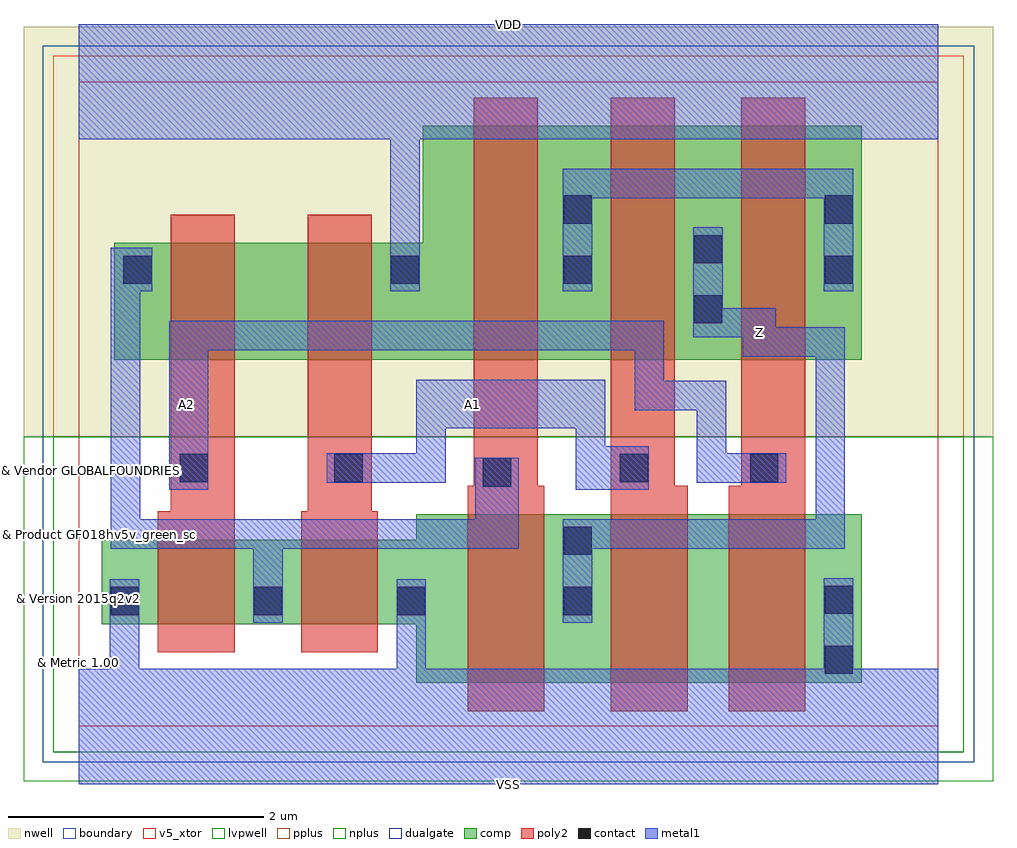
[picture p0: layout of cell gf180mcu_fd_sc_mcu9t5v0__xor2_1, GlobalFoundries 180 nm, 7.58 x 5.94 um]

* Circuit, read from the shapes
.subckt gf180mcu_fd_sc_mcu9t5v0__xor2_1 A1 A2 VDD VSS Z
XM1 n1 A2 VSS VSUBS nfet_05v0 w=0.66u l=0.6u
XM2 VSS A1 n1 VSUBS nfet_05v0 w=0.66u l=0.6u
XM3 Z n1 VSS VSUBS nfet_05v0 w=1.32u l=0.6u
XM4 n2 A1 Z VSUBS nfet_05v0 w=1.32u l=0.6u
XM5 VSS A2 n2 VSUBS nfet_05v0 w=1.32u l=0.6u
XM6 n3 A2 n1 n4 pfet_05v0 w=0.915u l=0.5u
XM7 VDD A1 n3 n4 pfet_05v0 w=0.915u l=0.5u
XM8 n5 n1 VDD n4 pfet_05v0 w=1.83u l=0.5u
XM9 Z A1 n5 n4 pfet_05v0 w=1.83u l=0.5u
XM10 n5 A2 Z n4 pfet_05v0 w=1.83u l=0.5u
.ends

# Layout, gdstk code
import gdstk
lib = gdstk.Library(unit=1e-6, precision=1e-09)
def R(c, l, rs):  # rectangles x0, y0, x1, y1
    for r in rs: c.add(gdstk.rectangle(r[:2], r[2:], *l))
def A(c, l, x, y, w, h, nx, ny, dx, dy):  # array of equal rectangles
    R(c, l, [(x+i*dx, y+j*dy, x+i*dx+w, y+j*dy+h) for i in range(nx) for j in range(ny)])
def P(c, l, *ps):  # polygons
    for p in ps: c.add(gdstk.Polygon(p, *l))
boundary = (0, 0)
nwell = (21, 0)
comp = (22, 0)
poly2 = (30, 0)
pplus = (31, 0)
nplus = (32, 0)
contact = (33, 0)
metal1 = (34, 0)
dualgate = (55, 0)
v5_xtor = (112, 1)
lvpwell = (204, 0)

gf180mcu_fd_sc_mcu9t5v0_ = lib.new_cell('gf180mcu_fd_sc_mcu9t5v0__xor2_1')
R(gf180mcu_fd_sc_mcu9t5v0_, boundary, [(0,0,6.72,5.04)])
R(gf180mcu_fd_sc_mcu9t5v0_, nwell, [(-0.43,2.265,7.15,5.47)])
P(gf180mcu_fd_sc_mcu9t5v0_, comp, [(2.64,0.34),(2.64,0.8),(0.18,0.8),(0.18,1.46),(2.64,1.46),(2.64,1.66),(6.12,1.66),(6.12,0.34)],
  [(0.28,2.865),(0.28,3.78),(2.69,3.78),(2.69,4.695),(6.12,4.695),(6.12,2.865)])
P(gf180mcu_fd_sc_mcu9t5v0_, poly2, [(0.62,0.58),(0.62,1.68),(0.72,1.68),(0.72,4),(1.22,4),(1.22,0.58)],
  [(1.74,0.58),(1.74,1.68),(1.79,1.68),(1.79,4),(2.29,4),(2.29,1.68),(2.34,1.68),(2.34,0.58)],
  [(3.04,0.12),(3.04,1.88),(3.09,1.88),(3.09,4.915),(3.59,4.915),(3.59,1.88),(3.64,1.88),(3.64,0.12)],
  [(4.16,0.12),(4.16,4.915),(4.66,4.915),(4.66,1.88),(4.76,1.88),(4.76,0.12)],
  [(5.08,0.12),(5.08,1.88),(5.18,1.88),(5.18,4.915),(5.68,4.915),(5.68,0.12)])
R(gf180mcu_fd_sc_mcu9t5v0_, pplus, [(-0.2,2.265,6.92,5.24)])
R(gf180mcu_fd_sc_mcu9t5v0_, nplus, [(-0.2,-0.2,6.92,2.265)])
A(gf180mcu_fd_sc_mcu9t5v0_, contact, 0.25, 0.87, 0.22, 0.22, 3, 1, 1.12, 0)
R(gf180mcu_fd_sc_mcu9t5v0_, contact, [(5.83,0.41,6.05,0.63), (3.79,0.87,4.01,1.09), (5.83,0.88,6.05,1.1), (3.79,1.34,4.01,1.56), (3.16,1.875,3.38,2.095), (0.79,1.91,1.01,2.13), (2,1.91,2.22,2.13), (4.23,1.91,4.45,2.13), (5.25,1.91,5.47,2.13), (4.81,3.15,5.03,3.37), (0.35,3.46,0.57,3.68), (2.44,3.46,2.66,3.68), (3.79,3.46,4.01,3.68), (5.83,3.46,6.05,3.68), (4.81,3.62,5.03,3.84), (3.79,3.93,4.01,4.15), (5.83,3.93,6.05,4.15)])
P(gf180mcu_fd_sc_mcu9t5v0_, metal1, [(1.365,0.81),(1.365,1.39),(0.25,1.39),(0.25,3.74),(0.575,3.74),(0.575,3.4),(0.48,3.4),(0.48,1.62),(3.1,1.62),(3.1,2.1),(3.44,2.1),(3.44,1.39),(1.595,1.39),(1.595,0.81)],
  [(3.885,1.85),(3.885,2.33),(2.87,2.33),(2.87,1.905),(1.94,1.905),(1.94,2.135),(2.64,2.135),(2.64,2.71),(4.115,2.71),(4.115,2.19),(4.455,2.19),(4.455,1.85)],
  [(0.71,1.85),(0.71,3.17),(4.575,3.17),(4.575,2.7),(5.06,2.7),(5.06,2.135),(5.53,2.135),(5.53,1.905),(4.83,1.905),(4.83,2.47),(4.345,2.47),(4.345,2.94),(1.015,2.94),(1.015,1.85)],
  [(3.785,0.81),(3.785,1.62),(5.76,1.62),(5.76,2.89),(5.19,2.89),(5.19,3.04),(4.805,3.04),(4.805,3.9),(5.035,3.9),(5.035,3.27),(5.45,3.27),(5.45,3.12),(5.99,3.12),(5.99,1.39),(4.015,1.39),(4.015,0.81)],
  [(3.785,3.4),(3.785,4.36),(6.055,4.36),(6.055,3.4),(5.825,3.4),(5.825,4.13),(4.015,4.13),(4.015,3.4)],
  [(0,-0.45),(0,0.45),(0.245,0.45),(0.245,1.15),(0.475,1.15),(0.475,0.45),(2.485,0.45),(2.485,1.15),(2.715,1.15),(2.715,0.45),(5.825,0.45),(5.825,1.16),(6.055,1.16),(6.055,0.45),(6.72,0.45),(6.72,-0.45)],
  [(2.435,3.4),(2.435,4.59),(0,4.59),(0,5.49),(6.72,5.49),(6.72,4.59),(2.665,4.59),(2.665,3.4)])
R(gf180mcu_fd_sc_mcu9t5v0_, dualgate, [(-0.28,-0.28,7,5.32)])
R(gf180mcu_fd_sc_mcu9t5v0_, v5_xtor, [(0,0,6.72,5.04)])
R(gf180mcu_fd_sc_mcu9t5v0_, lvpwell, [(-0.43,-0.43,7.15,2.265)])
gf180mcu_fd_sc_mcu9t5v0_.add(gdstk.Label('A1', (3.08,2.52), layer=34, texttype=10))
gf180mcu_fd_sc_mcu9t5v0_.add(gdstk.Label('A2', (0.84,2.52), layer=34, texttype=10))
gf180mcu_fd_sc_mcu9t5v0_.add(gdstk.Label('VDD', (3.36,5.49), layer=34, texttype=10))
gf180mcu_fd_sc_mcu9t5v0_.add(gdstk.Label('VSS', (3.36,-0.45), layer=34, texttype=10))
gf180mcu_fd_sc_mcu9t5v0_.add(gdstk.Label('Z', (5.32,3.08), layer=34, texttype=10))
gf180mcu_fd_sc_mcu9t5v0_.add(gdstk.Label('& Vendor GLOBALFOUNDRIES', (0,2), layer=63, texttype=63))
gf180mcu_fd_sc_mcu9t5v0_.add(gdstk.Label('& Product GF018hv5v_green_sc9', (0,1.5), layer=63, texttype=63))
gf180mcu_fd_sc_mcu9t5v0_.add(gdstk.Label('& Version 2015q2v2', (0,1), layer=63, texttype=63))
gf180mcu_fd_sc_mcu9t5v0_.add(gdstk.Label('& Metric 1.00', (0,0.5), layer=63, texttype=63))

lib.write_gds('gf180mcu_fd_sc_mcu9t5v0__xor2_1.gds')
